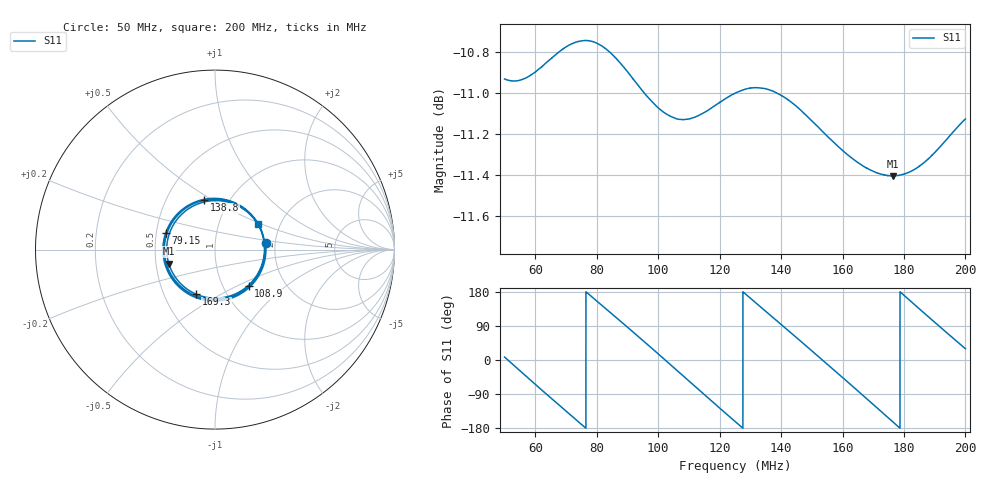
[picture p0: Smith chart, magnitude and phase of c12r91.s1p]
! COPPER MOUNTAIN TECHNOLOGIES, PLANAR TR1300/1, 00071119, 20.2.2/1.0
! Date: 11/21/2023 7:04:58 PM
! Data: Format [Calibration Info]
! Freq  S11: Re/Im F1
# HZ S RI R 50
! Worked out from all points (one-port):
!   12288 points, 50 MHz to 200 MHz, reference 50 ohm
!   lowest |S11| = -11.4 dB at 176.4 MHz (marker M1), VSWR 1.74, Z = 29.2 - j4.9 ohm
!   |S11| at or under -10 dB: start of sweep to end of sweep
!   S11 on the Smith chart (normalised r, x): 50 MHz: 1.78, +0.15; 79.15 MHz: 0.56, +0.11; 108.9 MHz: 1.32, -0.58; 138.8 MHz: 0.77, +0.46; 169.3 MHz: 0.72, -0.39; 200 MHz: 1.55, +0.46
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5e7  0.2815 0.0378
5.491983e7  0.251 -0.1324
6.042565e7  0.1097 -0.2634
6.453976e7  -0.0334 -0.2851
6.875153e7  -0.1712 -0.2325
7.411085e7  -0.2784 -0.0816
7.915276e7  -0.275 0.0918
8.750305e7  -0.0691 0.2782
9.256938e7  0.1031 0.2642
9.811183e7  0.2437 0.1386
1.062546e8  0.244 -0.1327
1.088793e8  0.188 -0.2044
1.165948e8  -0.061 -0.2725
1.250061e8  -0.268 -0.0869
1.313543e8  -0.2534 0.1252
1.388256e8  -0.0586 0.2756
1.437576e8  0.1056 0.2595
1.487629e8  0.233 0.1517
1.531822e8  0.2758 0.0103
1.575893e8  0.2398 -0.1325
1.625092e8  0.1198 -0.2441
1.693212e8  -0.1035 -0.2492
1.763775e8  -0.2576 -0.0778
1.812607e8  -0.256 0.0842
1.863392e8  -0.1576 0.2205
1.907219e8  -0.0216 0.2721
1.949703e8  0.1175 0.2489
2e8  0.241 0.1381
